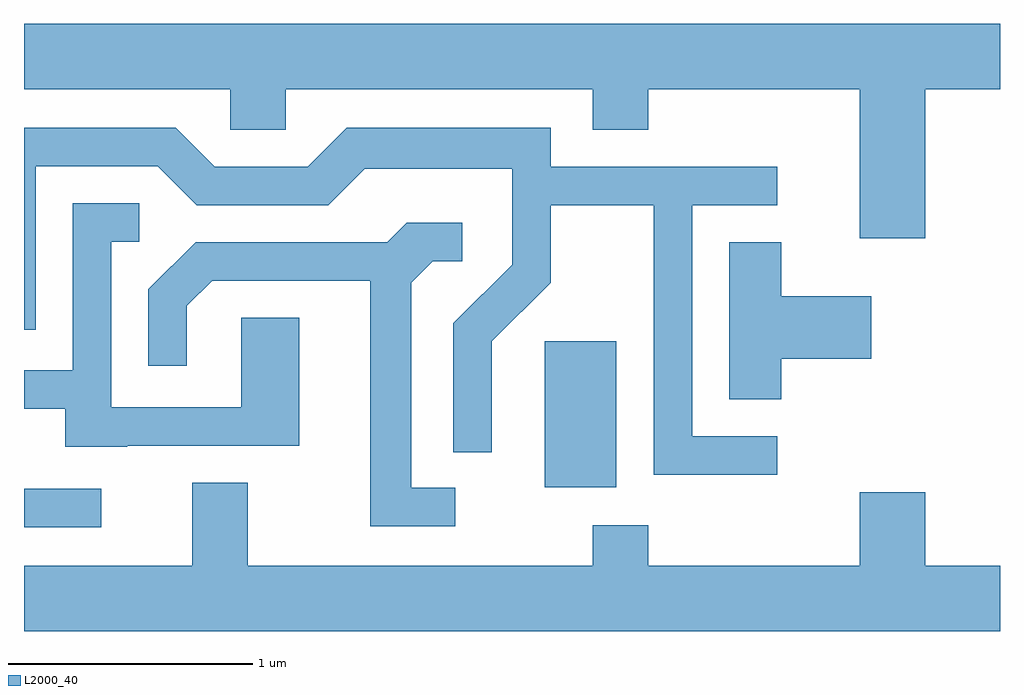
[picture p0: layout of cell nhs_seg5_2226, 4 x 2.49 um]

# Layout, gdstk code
import gdstk
lib = gdstk.Library(unit=1e-6, precision=1e-09)
def R(c, l, rs):  # rectangles x0, y0, x1, y1
    for r in rs: c.add(gdstk.rectangle(r[:2], r[2:], *l))
def P(c, l, *ps):  # polygons
    for p in ps: c.add(gdstk.Polygon(p, *l))
L2000_40 = (2000, 40)

nhs_seg5_2226 = lib.new_cell('nhs_seg5_2226')
R(nhs_seg5_2226, L2000_40, [(251.611,1423.921,251.928,1424.079), (253.746,1424.086,254.039,1424.684)])
P(nhs_seg5_2226, L2000_40, [(255.304,1425.716),(255.611,1425.716),(255.611,1425.984),(251.611,1425.984),(251.611,1425.716),(252.456,1425.716),(252.456,1425.551),(252.684,1425.551),(252.684,1425.716),(253.941,1425.716),(253.941,1425.551),(254.169,1425.551),(254.169,1425.716),(255.036,1425.716),(255.036,1425.106),(255.304,1425.106)],
  [(254.698,1424.294),(254.349,1424.294),(254.349,1425.241),(254.698,1425.241),(254.698,1425.399),(253.769,1425.399),(253.769,1425.559),(252.934,1425.559),(252.774,1425.399),(252.392,1425.399),(252.232,1425.559),(251.611,1425.559),(251.611,1424.731),(251.659,1424.731),(251.659,1425.401),(252.159,1425.401),(252.319,1425.241),(252.857,1425.241),(253.007,1425.391),(253.611,1425.391),(253.611,1424.997),(253.371,1424.757),(253.371,1424.228),(253.529,1424.228),(253.529,1424.684),(253.769,1424.924),(253.769,1425.241),(254.191,1425.241),(254.191,1424.136),(254.698,1424.136)],
  [(252.035,1424.256),(252.739,1424.256),(252.739,1424.779),(252.501,1424.779),(252.501,1424.414),(251.969,1424.414),(251.969,1425.091),(252.083,1425.091),(252.083,1425.249),(251.811,1425.249),(251.811,1424.564),(251.611,1424.564),(251.611,1424.406),(251.781,1424.406),(251.781,1424.251),(252.035,1424.251)],
  [(253.378,1424.084),(253.199,1424.084),(253.199,1424.924),(253.287,1425.011),(253.408,1425.011),(253.408,1425.169),(253.179,1425.169),(253.099,1425.089),(252.314,1425.089),(252.121,1424.897),(252.121,1424.583),(252.279,1424.583),(252.279,1424.829),(252.382,1424.931),(253.031,1424.931),(253.031,1423.926),(253.378,1423.926)],
  [(254.714,1424.611),(255.084,1424.611),(255.084,1424.869),(254.714,1424.869),(254.714,1425.089),(254.501,1425.089),(254.501,1424.446),(254.714,1424.446)],
  [(255.611,1423.764),(255.304,1423.764),(255.304,1424.064),(255.036,1424.064),(255.036,1423.764),(254.169,1423.764),(254.169,1423.929),(253.941,1423.929),(253.941,1423.764),(252.529,1423.764),(252.529,1424.104),(252.301,1424.104),(252.301,1423.764),(251.611,1423.764),(251.611,1423.496),(255.611,1423.496)])

lib.write_gds('nhs_seg5_2226.gds')
